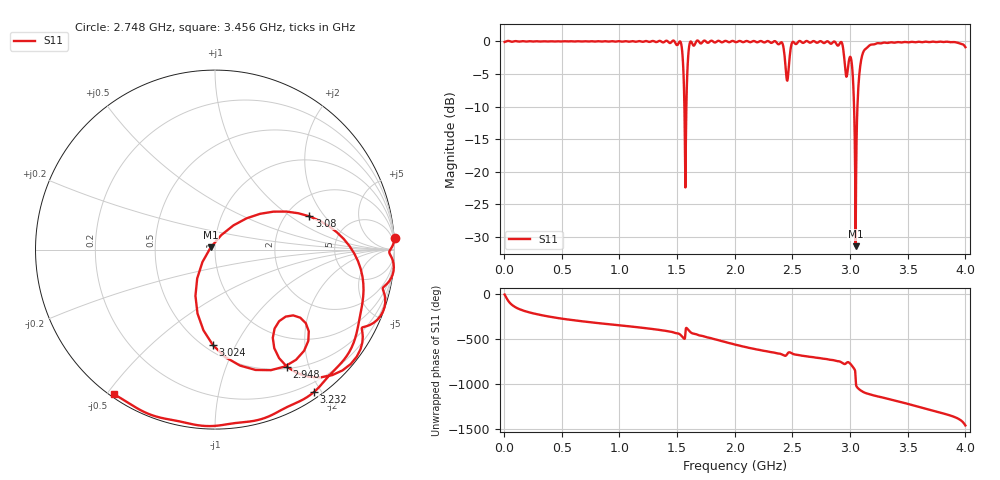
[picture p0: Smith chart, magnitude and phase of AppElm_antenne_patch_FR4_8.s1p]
! TOUCHSTONE file generated by CST MICROWAVE STUDIO
! Date and time: Tue Jun  7 21:57:05 2022
! Project name: AppElm_antenne_patch_FR4.cst
! Parameters = {L=45; W=58.5; e=0.035; h=1.6; lambda=0.190476; ls=132; w0=1.6; w1=0.533; ws=120; y0=20; y1=23.81}
! Header version: 2018
! Port assignment regex: !\s*Touchstone port\s*([0-9]+)\s*=\s*(CST MWS port|CST DS port)\s*([0-9]+|Zmin|Zmax)\s*\(\"(.*)\"\)(\s*mode\s*([0-9]+))?.*
! Touchstone port assignment:
! Touchstone port 1 = CST MWS port 1 ("")
# GHz S MA R 50
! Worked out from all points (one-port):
!   1000 points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, 4 MHz to 4 GHz, reference 50 ohm
!   lowest |S11| = -31.4 dB at 3.048 GHz (marker M1), VSWR 1.06, Z = 47.6 + j1.17 ohm
!   |S11| at or under -10 dB: 1.563 GHz to 1.58 GHz (17.24 MHz wide, 1.1 % of centre); 3.034 GHz to 3.064 GHz (29.54 MHz wide, 0.969 % of centre)
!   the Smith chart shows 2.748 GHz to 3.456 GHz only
!   S11 on the Smith chart (normalised r, x): 2.748 GHz: -1, +32; 2.948 GHz: 0.53, -1.66; 3.024 GHz: 0.55, -0.81; 3.08 GHz: 2.66, +1.43; 3.232 GHz: 0.08, -1.90; 3.456 GHz: 0.01, -0.52
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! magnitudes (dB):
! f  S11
! 4 MHz  -0.1
! 504 MHz  0.0
! 1.004 GHz  0.0
! 1.504 GHz  -0.5
! 1.536 GHz  -0.4
! 1.556 GHz  -5.2
! 1.572 GHz  -22.4
! 1.588 GHz  -5.0
! 1.604 GHz  -0.8
! 1.62 GHz  0.0
! 2.004 GHz  -0.1
! 2.4 GHz  -0.2
! 2.456 GHz  -6.0
! 2.504 GHz  -0.1
! 2.748 GHz  0.0
! 2.92 GHz  -0.1
! 2.948 GHz  -2.3
! 3.004 GHz  -2.4
! 3.024 GHz  -5.5
! 3.032 GHz  -8.7
! 3.048 GHz  -31.4
! 3.064 GHz  -9.9
! 3.08 GHz  -5.1
! 3.12 GHz  -1.4
! 3.232 GHz  -0.3
! 3.456 GHz  -0.1
! 3.504 GHz  -0.2
! 4 GHz  -0.9
